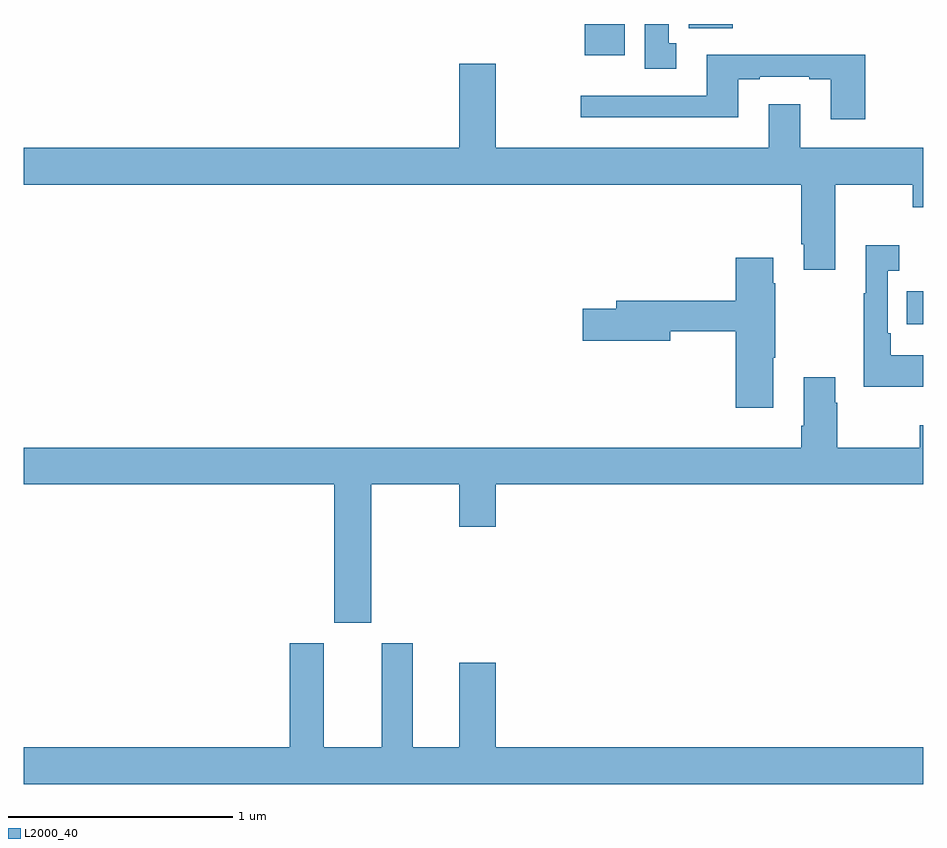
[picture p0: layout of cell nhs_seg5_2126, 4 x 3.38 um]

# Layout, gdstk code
import gdstk
lib = gdstk.Library(unit=1e-6, precision=1e-09)
def R(c, l, rs):  # rectangles x0, y0, x1, y1
    for r in rs: c.add(gdstk.rectangle(r[:2], r[2:], *l))
def P(c, l, *ps):  # polygons
    for p in ps: c.add(gdstk.Polygon(p, *l))
L2000_40 = (2000, 40)

nhs_seg5_2126 = lib.new_cell('nhs_seg5_2126')
R(nhs_seg5_2126, L2000_40, [(238.927,865.463,239,865.611), (237.494,866.66,237.673,866.799), (237.956,866.78,238.153,866.799)])
P(nhs_seg5_2126, L2000_40, [(237.901,866.714),(237.868,866.714),(237.868,866.799),(237.761,866.799),(237.761,866.601),(237.901,866.601)],
  [(238.742,866.662),(238.037,866.662),(238.037,866.481),(237.477,866.481),(237.477,866.384),(238.177,866.384),(238.177,866.553),(238.273,866.553),(238.273,866.565),(238.493,866.565),(238.493,866.553),(238.589,866.553),(238.589,866.376),(238.742,866.376)],
  [(238.609,866.084),(238.954,866.084),(238.954,865.985),(239,865.985),(239,866.248),(238.453,866.248),(238.453,866.443),(238.313,866.443),(238.313,866.248),(237.1,866.248),(237.1,866.623),(236.936,866.623),(236.936,866.248),(235,866.248),(235,866.084),(238.457,866.084),(238.457,865.819),(238.469,865.819),(238.469,865.707),(238.609,865.707)],
  [(239,865.327),(238.855,865.327),(238.855,865.423),(238.842,865.423),(238.842,865.703),(238.894,865.703),(238.894,865.816),(238.745,865.816),(238.745,865.603),(238.734,865.603),(238.734,865.187),(239,865.187)],
  [(238.333,865.315),(238.341,865.315),(238.341,865.646),(238.333,865.646),(238.333,865.759),(238.166,865.759),(238.166,865.568),(237.635,865.568),(237.635,865.532),(237.486,865.532),(237.486,865.39),(237.874,865.39),(237.874,865.432),(238.166,865.432),(238.166,865.092),(238.333,865.092)],
  [(236.545,864.752),(236.936,864.752),(236.936,864.564),(237.1,864.564),(237.1,864.752),(239,864.752),(239,865.015),(238.984,865.015),(238.984,864.916),(238.617,864.916),(238.617,865.115),(238.609,865.115),(238.609,865.228),(238.469,865.228),(238.469,865.012),(238.457,865.012),(238.457,864.916),(235,864.916),(235,864.752),(236.381,864.752),(236.381,864.138),(236.545,864.138)],
  [(239,863.584),(237.1,863.584),(237.1,863.959),(236.936,863.959),(236.936,863.584),(236.731,863.584),(236.731,864.046),(236.591,864.046),(236.591,863.584),(236.335,863.584),(236.335,864.046),(236.183,864.046),(236.183,863.584),(235,863.584),(235,863.42),(239,863.42)])

lib.write_gds('nhs_seg5_2126.gds')
